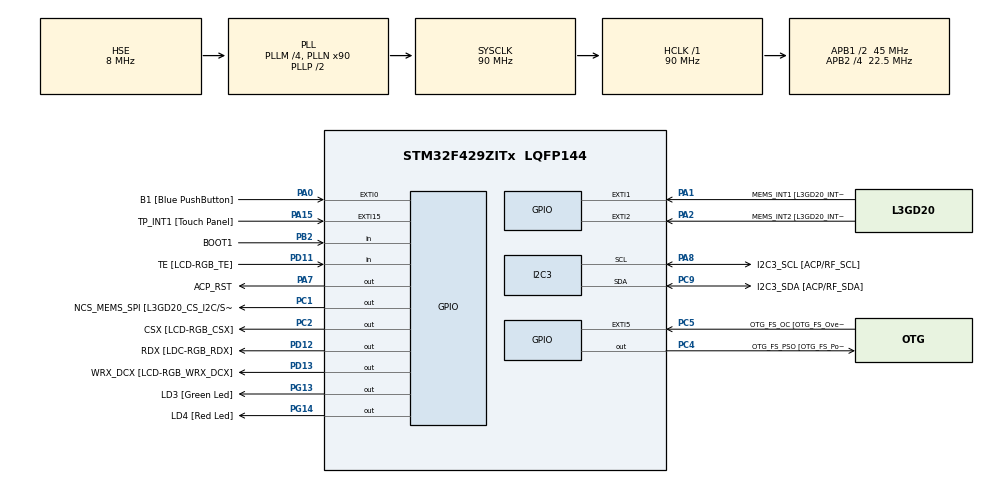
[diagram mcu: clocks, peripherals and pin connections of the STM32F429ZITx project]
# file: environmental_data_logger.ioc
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Mcu.Family=STM32F4
Mcu.Name=STM32F429ZITx
Mcu.Package=LQFP144
NVIC.PriorityGroup=NVIC_PRIORITYGROUP_0
PA0/WKUP.GPIO_Label=B1 [Blue PushButton]
PA0/WKUP.GPIO_ModeDefaultEXTI=GPIO_MODE_EVT_RISING
PA0/WKUP.GPIO_PuPd=GPIO_NOPULL
PA0/WKUP.Signal=GPXTI0
PA1.GPIO_Label=MEMS_INT1 [L3GD20_INT1]
PA1.GPIO_ModeDefaultEXTI=GPIO_MODE_EVT_RISING
PA1.GPIO_PuPd=GPIO_NOPULL
PA1.Signal=GPXTI1
PA10.GPIO_Label=STLINK_TX [STM32F103CBT6_PA2]
PA10.Signal=USART1_RX
PA11.GPIO_Label=R4
PA11.GPIO_Mode=GPIO_MODE_AF_PP
PA11.GPIO_PuPd=GPIO_NOPULL
PA11.GPIO_Speed=GPIO_SPEED_FREQ_LOW
PA11.Signal=LTDC_R4
PA12.GPIO_Label=R5
PA12.GPIO_Mode=GPIO_MODE_AF_PP
PA12.GPIO_PuPd=GPIO_NOPULL
PA12.GPIO_Speed=GPIO_SPEED_FREQ_LOW
PA12.Signal=LTDC_R5
PA13.GPIO_Label=SWDIO
PA13.Mode=Serial_Wire
PA13.Signal=SYS_JTMS-SWDIO
PA14.GPIO_Label=SWCLK
PA14.Mode=Serial_Wire
PA14.Signal=SYS_JTCK-SWCLK
PA15.GPIO_Label=TP_INT1 [Touch Panel]
PA15.GPIO_ModeDefaultEXTI=GPIO_MODE_EVT_RISING
PA15.GPIO_PuPd=GPIO_NOPULL
PA15.Signal=GPXTI15
PA2.GPIO_Label=MEMS_INT2 [L3GD20_INT2]
PA2.GPIO_ModeDefaultEXTI=GPIO_MODE_EVT_RISING
PA2.GPIO_PuPd=GPIO_NOPULL
PA2.Signal=GPXTI2
PA3.GPIO_Label=B5
PA3.GPIO_Mode=GPIO_MODE_AF_PP
PA3.GPIO_PuPd=GPIO_NOPULL
PA3.GPIO_Speed=GPIO_SPEED_FREQ_LOW
PA3.Signal=LTDC_B5
PA4.GPIO_Label=VSYNC
PA4.GPIO_Mode=GPIO_MODE_AF_PP
PA4.GPIO_PuPd=GPIO_NOPULL
PA4.GPIO_Speed=GPIO_SPEED_FREQ_LOW
PA4.Signal=LTDC_VSYNC
PA6.GPIO_Label=G2
PA6.GPIO_Mode=GPIO_MODE_AF_PP
PA6.GPIO_PuPd=GPIO_NOPULL
PA6.GPIO_Speed=GPIO_SPEED_FREQ_LOW
PA6.Signal=LTDC_G2
PA7.GPIO_Label=ACP_RST
PA7.GPIO_Mode=GPIO_MODE_OUTPUT_PP
PA7.GPIO_PuPd=GPIO_NOPULL
PA7.GPIO_Speed=GPIO_SPEED_FREQ_LOW
PA7.Signal=GPIO_Output
PA8.GPIO_Label=I2C3_SCL [ACP/RF_SCL]
PA8.GPIO_Mode=GPIO_MODE_AF_OD
PA8.GPIO_PuPd=GPIO_NOPULL
PA8.GPIO_Speed=GPIO_SPEED_FREQ_LOW
PA8.Mode=I2C
PA8.Signal=I2C3_SCL
PA9.GPIO_Label=STLINK_RX [STM32F103CBT6_PA3]
PA9.Signal=USART1_TX
PB0.GPIO_Label=R3
PB0.GPIO_Mode=GPIO_MODE_AF_PP
PB0.GPIO_PuPd=GPIO_NOPULL
PB0.GPIO_Speed=GPIO_SPEED_FREQ_LOW
PB0.Signal=LTDC_R3
PB1.GPIO_Label=R6
PB1.GPIO_Mode=GPIO_MODE_AF_PP
PB1.GPIO_PuPd=GPIO_NOPULL
PB1.GPIO_Speed=GPIO_SPEED_FREQ_LOW
PB1.Signal=LTDC_R6
PB10.GPIO_Label=G4
PB10.GPIO_Mode=GPIO_MODE_AF_PP
PB10.GPIO_PuPd=GPIO_NOPULL
PB10.GPIO_Speed=GPIO_SPEED_FREQ_LOW
PB10.Signal=LTDC_G4
PB11.GPIO_Label=G5
PB11.GPIO_Mode=GPIO_MODE_AF_PP
PB11.GPIO_PuPd=GPIO_NOPULL
PB11.GPIO_Speed=GPIO_SPEED_FREQ_LOW
PB11.Signal=LTDC_G5
PB12.GPIO_Label=OTG_HS_ID
PB12.GPIO_Mode=GPIO_MODE_AF_PP
PB12.GPIO_PuPd=GPIO_NOPULL
PB12.GPIO_Speed=GPIO_SPEED_FREQ_LOW
PB12.Signal=USB_OTG_HS_ID
PB13.GPIO_Label=VBUS_HS
PB13.GPIO_Mode=GPIO_MODE_INPUT
PB13.GPIO_PuPd=GPIO_NOPULL
PB13.Signal=USB_OTG_HS_VBUS
PB14.GPIO_Label=OTG_HS_DM
PB14.GPIO_Mode=GPIO_MODE_AF_PP
PB14.GPIO_PuPd=GPIO_NOPULL
PB14.GPIO_Speed=GPIO_SPEED_FREQ_LOW
PB14.Signal=USB_OTG_HS_DM
PB15.GPIO_Label=OTG_HS_DP
PB15.GPIO_Mode=GPIO_MODE_AF_PP
PB15.GPIO_PuPd=GPIO_NOPULL
PB15.GPIO_Speed=GPIO_SPEED_FREQ_LOW
PB15.Signal=USB_OTG_HS_DP
PB2/BOOT1.GPIO_Label=BOOT1
PB2/BOOT1.GPIO_Mode=GPIO_MODE_INPUT
PB2/BOOT1.GPIO_PuPd=GPIO_NOPULL
PB2/BOOT1.Signal=GPIO_Input
PB5.GPIO_Label=SDCKE1
PB5.GPIO_Mode=GPIO_MODE_AF_PP
PB5.GPIO_PuPd=GPIO_NOPULL
PB5.GPIO_Speed=GPIO_SPEED_FREQ_VERY_HIGH
PB5.Signal=FMC_SDCKE1
PB6.GPIO_Label=SDNE1 [SDRAM_CS]
PB6.GPIO_Mode=GPIO_MODE_AF_PP
PB6.GPIO_PuPd=GPIO_NOPULL
PB6.GPIO_Speed=GPIO_SPEED_FREQ_VERY_HIGH
PB6.Signal=FMC_SDNE1
PB8.GPIO_Label=B6
PB8.GPIO_Mode=GPIO_MODE_AF_PP
PB8.GPIO_PuPd=GPIO_NOPULL
PB8.GPIO_Speed=GPIO_SPEED_FREQ_LOW
PB8.Signal=LTDC_B6
PB9.GPIO_Label=B7
PB9.GPIO_Mode=GPIO_MODE_AF_PP
PB9.GPIO_PuPd=GPIO_NOPULL
PB9.GPIO_Speed=GPIO_SPEED_FREQ_LOW
PB9.Signal=LTDC_B7
PC0.GPIO_Label=SDNWE
PC0.GPIO_Mode=GPIO_MODE_AF_PP
PC0.GPIO_PuPd=GPIO_NOPULL
PC0.GPIO_Speed=GPIO_SPEED_FREQ_VERY_HIGH
PC0.Signal=FMC_SDNWE
PC1.GPIO_Label=NCS_MEMS_SPI [L3GD20_CS_I2C/SPI]
PC1.GPIO_Mode=GPIO_MODE_OUTPUT_PP
PC1.GPIO_PuPd=GPIO_NOPULL
PC1.GPIO_Speed=GPIO_SPEED_FREQ_LOW
PC1.Signal=GPIO_Output
PC10.GPIO_Label=R2
PC10.GPIO_Mode=GPIO_MODE_AF_PP
PC10.GPIO_PuPd=GPIO_NOPULL
PC10.GPIO_Speed=GPIO_SPEED_FREQ_LOW
PC10.Signal=LTDC_R2
PC14/OSC32_IN.GPIO_Label=PC14-OSC32_IN
PC14/OSC32_IN.Signal=RCC_OSC32_IN
PC15/OSC32_OUT.GPIO_Label=PC15-OSC32_OUT
PC15/OSC32_OUT.Signal=RCC_OSC32_OUT
PC2.GPIO_Label=CSX [LCD-RGB_CSX]
PC2.GPIO_Mode=GPIO_MODE_OUTPUT_PP
PC2.GPIO_PuPd=GPIO_NOPULL
PC2.GPIO_Speed=GPIO_SPEED_FREQ_LOW
PC2.Signal=GPIO_Output
PC4.GPIO_Label=OTG_FS_PSO [OTG_FS_PowerSwitchOn]
PC4.GPIO_Mode=GPIO_MODE_OUTPUT_PP
PC4.GPIO_PuPd=GPIO_NOPULL
PC4.GPIO_Speed=GPIO_SPEED_FREQ_LOW
PC4.Signal=GPIO_Output
PC5.GPIO_Label=OTG_FS_OC [OTG_FS_OverCurrent]
PC5.GPIO_ModeDefaultEXTI=GPIO_MODE_EVT_RISING
PC5.Signal=GPXTI5
PC6.GPIO_Label=HSYNC
PC6.GPIO_Mode=GPIO_MODE_AF_PP
PC6.GPIO_PuPd=GPIO_NOPULL
PC6.GPIO_Speed=GPIO_SPEED_FREQ_LOW
PC6.Signal=LTDC_HSYNC
PC7.GPIO_Label=G6
PC7.GPIO_Mode=GPIO_MODE_AF_PP
PC7.GPIO_PuPd=GPIO_NOPULL
PC7.GPIO_Speed=GPIO_SPEED_FREQ_LOW
PC7.Signal=LTDC_G6
PC9.GPIO_Label=I2C3_SDA [ACP/RF_SDA]
PC9.GPIO_Mode=GPIO_MODE_AF_OD
PC9.GPIO_PuPd=GPIO_NOPULL
PC9.GPIO_Speed=GPIO_SPEED_FREQ_LOW
PC9.Mode=I2C
PC9.Signal=I2C3_SDA
PD0.GPIO_Label=D2
PD0.GPIO_Mode=GPIO_MODE_AF_PP
PD0.GPIO_PuPd=GPIO_NOPULL
PD0.GPIO_Speed=GPIO_SPEED_FREQ_VERY_HIGH
PD0.Signal=FMC_D2_DA2
PD1.GPIO_Label=D3
PD1.GPIO_Mode=GPIO_MODE_AF_PP
PD1.GPIO_PuPd=GPIO_NOPULL
PD1.GPIO_Speed=GPIO_SPEED_FREQ_VERY_HIGH
PD1.Signal=FMC_D3_DA3
PD10.GPIO_Label=D15
PD10.GPIO_Mode=GPIO_MODE_AF_PP
PD10.GPIO_PuPd=GPIO_NOPULL
PD10.GPIO_Speed=GPIO_SPEED_FREQ_VERY_HIGH
PD10.Signal=FMC_D15_DA15
PD11.GPIO_Label=TE [LCD-RGB_TE]
PD11.GPIO_Mode=GPIO_MODE_INPUT
PD11.GPIO_PuPd=GPIO_NOPULL
PD11.Signal=GPIO_Input
PD12.GPIO_Label=RDX [LDC-RGB_RDX]
PD12.GPIO_Mode=GPIO_MODE_OUTPUT_PP
PD12.GPIO_PuPd=GPIO_NOPULL
PD12.GPIO_Speed=GPIO_SPEED_FREQ_LOW
PD12.Signal=GPIO_Output
PD13.GPIO_Label=WRX_DCX [LCD-RGB_WRX_DCX]
PD13.GPIO_Mode=GPIO_MODE_OUTPUT_PP
PD13.GPIO_PuPd=GPIO_NOPULL
PD13.GPIO_Speed=GPIO_SPEED_FREQ_LOW
PD13.Signal=GPIO_Output
PD14.GPIO_Label=D0
PD14.GPIO_Mode=GPIO_MODE_AF_PP
PD14.GPIO_PuPd=GPIO_NOPULL
PD14.GPIO_Speed=GPIO_SPEED_FREQ_VERY_HIGH
PD14.Signal=FMC_D0_DA0
PD15.GPIO_Label=D1
PD15.GPIO_Mode=GPIO_MODE_AF_PP
PD15.GPIO_PuPd=GPIO_NOPULL
PD15.GPIO_Speed=GPIO_SPEED_FREQ_VERY_HIGH
PD15.Signal=FMC_D1_DA1
PD3.GPIO_Label=G7
PD3.GPIO_Mode=GPIO_MODE_AF_PP
PD3.GPIO_PuPd=GPIO_NOPULL
PD3.GPIO_Speed=GPIO_SPEED_FREQ_LOW
PD3.Signal=LTDC_G7
PD6.GPIO_Label=B2
PD6.GPIO_Mode=GPIO_MODE_AF_PP
PD6.GPIO_PuPd=GPIO_NOPULL
PD6.GPIO_Speed=GPIO_SPEED_FREQ_LOW
PD6.Signal=LTDC_B2
PD8.GPIO_Label=D13
PD8.GPIO_Mode=GPIO_MODE_AF_PP
PD8.GPIO_PuPd=GPIO_NOPULL
PD8.GPIO_Speed=GPIO_SPEED_FREQ_VERY_HIGH
PD8.Signal=FMC_D13_DA13
PD9.GPIO_Label=D14
PD9.GPIO_Mode=GPIO_MODE_AF_PP
PD9.GPIO_PuPd=GPIO_NOPULL
PD9.GPIO_Speed=GPIO_SPEED_FREQ_VERY_HIGH
PD9.Signal=FMC_D14_DA14
PE0.GPIO_Label=NBL0 [SDRAM_LDQM]
PE0.GPIO_Mode=GPIO_MODE_AF_PP
PE0.GPIO_PuPd=GPIO_NOPULL
PE0.GPIO_Speed=GPIO_SPEED_FREQ_VERY_HIGH
PE0.Signal=FMC_NBL0
PE1.GPIO_Label=NBL1 [SDRAM_UDQM]
PE1.GPIO_Mode=GPIO_MODE_AF_PP
PE1.GPIO_PuPd=GPIO_NOPULL
PE1.GPIO_Speed=GPIO_SPEED_FREQ_VERY_HIGH
PE1.Signal=FMC_NBL1
PE10.GPIO_Label=D7
PE10.GPIO_Mode=GPIO_MODE_AF_PP
PE10.GPIO_PuPd=GPIO_NOPULL
PE10.GPIO_Speed=GPIO_SPEED_FREQ_VERY_HIGH
PE10.Signal=FMC_D7_DA7
PE11.GPIO_Label=D8
PE11.GPIO_Mode=GPIO_MODE_AF_PP
PE11.GPIO_PuPd=GPIO_NOPULL
PE11.GPIO_Speed=GPIO_SPEED_FREQ_VERY_HIGH
PE11.Signal=FMC_D8_DA8
PE12.GPIO_Label=D9
PE12.GPIO_Mode=GPIO_MODE_AF_PP
PE12.GPIO_PuPd=GPIO_NOPULL
PE12.GPIO_Speed=GPIO_SPEED_FREQ_VERY_HIGH
PE12.Signal=FMC_D9_DA9
PE13.GPIO_Label=D10
PE13.GPIO_Mode=GPIO_MODE_AF_PP
PE13.GPIO_PuPd=GPIO_NOPULL
PE13.GPIO_Speed=GPIO_SPEED_FREQ_VERY_HIGH
PE13.Signal=FMC_D10_DA10
PE14.GPIO_Label=D11
PE14.GPIO_Mode=GPIO_MODE_AF_PP
PE14.GPIO_PuPd=GPIO_NOPULL
PE14.GPIO_Speed=GPIO_SPEED_FREQ_VERY_HIGH
PE14.Signal=FMC_D11_DA11
PE15.GPIO_Label=D12
PE15.GPIO_Mode=GPIO_MODE_AF_PP
PE15.GPIO_PuPd=GPIO_NOPULL
PE15.GPIO_Speed=GPIO_SPEED_FREQ_VERY_HIGH
PE15.Signal=FMC_D12_DA12
PE7.GPIO_Label=D4
PE7.GPIO_Mode=GPIO_MODE_AF_PP
PE7.GPIO_PuPd=GPIO_NOPULL
PE7.GPIO_Speed=GPIO_SPEED_FREQ_VERY_HIGH
PE7.Signal=FMC_D4_DA4
PE8.GPIO_Label=D5
PE8.GPIO_Mode=GPIO_MODE_AF_PP
PE8.GPIO_PuPd=GPIO_NOPULL
PE8.GPIO_Speed=GPIO_SPEED_FREQ_VERY_HIGH
PE8.Signal=FMC_D5_DA5
PE9.GPIO_Label=D6
PE9.GPIO_Mode=GPIO_MODE_AF_PP
PE9.GPIO_PuPd=GPIO_NOPULL
PE9.GPIO_Speed=GPIO_SPEED_FREQ_VERY_HIGH
PE9.Signal=FMC_D6_DA6
PF0.GPIO_Label=A0
PF0.GPIO_Mode=GPIO_MODE_AF_PP
PF0.GPIO_PuPd=GPIO_NOPULL
PF0.GPIO_Speed=GPIO_SPEED_FREQ_VERY_HIGH
PF0.Signal=FMC_A0
PF1.GPIO_Label=A1
PF1.GPIO_Mode=GPIO_MODE_AF_PP
PF1.GPIO_PuPd=GPIO_NOPULL
PF1.GPIO_Speed=GPIO_SPEED_FREQ_VERY_HIGH
PF1.Signal=FMC_A1
PF10.GPIO_Label=ENABLE [LCD-RGB_ENABLE]
PF10.GPIO_Mode=GPIO_MODE_AF_PP
PF10.GPIO_PuPd=GPIO_NOPULL
PF10.GPIO_Speed=GPIO_SPEED_FREQ_LOW
PF10.Signal=LTDC_DE
PF11.GPIO_Label=SDNRAS
PF11.GPIO_Mode=GPIO_MODE_AF_PP
PF11.GPIO_PuPd=GPIO_NOPULL
PF11.GPIO_Speed=GPIO_SPEED_FREQ_VERY_HIGH
PF11.Signal=FMC_SDNRAS
PF12.GPIO_Label=A6
PF12.GPIO_Mode=GPIO_MODE_AF_PP
PF12.GPIO_PuPd=GPIO_NOPULL
PF12.GPIO_Speed=GPIO_SPEED_FREQ_VERY_HIGH
PF12.Signal=FMC_A6
PF13.GPIO_Label=A7
PF13.GPIO_Mode=GPIO_MODE_AF_PP
PF13.GPIO_PuPd=GPIO_NOPULL
PF13.GPIO_Speed=GPIO_SPEED_FREQ_VERY_HIGH
PF13.Signal=FMC_A7
PF14.GPIO_Label=A8
PF14.GPIO_Mode=GPIO_MODE_AF_PP
PF14.GPIO_PuPd=GPIO_NOPULL
PF14.GPIO_Speed=GPIO_SPEED_FREQ_VERY_HIGH
PF14.Signal=FMC_A8
PF15.GPIO_Label=A9
PF15.GPIO_Mode=GPIO_MODE_AF_PP
PF15.GPIO_PuPd=GPIO_NOPULL
PF15.GPIO_Speed=GPIO_SPEED_FREQ_VERY_HIGH
PF15.Signal=FMC_A9
PF2.GPIO_Label=A2
PF2.GPIO_Mode=GPIO_MODE_AF_PP
PF2.GPIO_PuPd=GPIO_NOPULL
PF2.GPIO_Speed=GPIO_SPEED_FREQ_VERY_HIGH
PF2.Signal=FMC_A2
PF3.GPIO_Label=A3
PF3.GPIO_Mode=GPIO_MODE_AF_PP
PF3.GPIO_PuPd=GPIO_NOPULL
PF3.GPIO_Speed=GPIO_SPEED_FREQ_VERY_HIGH
PF3.Signal=FMC_A3
PF4.GPIO_Label=A4
PF4.GPIO_Mode=GPIO_MODE_AF_PP
PF4.GPIO_PuPd=GPIO_NOPULL
PF4.GPIO_Speed=GPIO_SPEED_FREQ_VERY_HIGH
PF4.Signal=FMC_A4
PF5.GPIO_Label=A5
PF5.GPIO_Mode=GPIO_MODE_AF_PP
PF5.GPIO_PuPd=GPIO_NOPULL
PF5.GPIO_Speed=GPIO_SPEED_FREQ_VERY_HIGH
PF5.Signal=FMC_A5
PF7.GPIO_Label=SPI5_SCK [L3GD20_SCL/SPC]
PF7.GPIO_Mode=GPIO_MODE_AF_PP
PF7.GPIO_PuPd=GPIO_NOPULL
PF7.GPIO_Speed=GPIO_SPEED_FREQ_LOW
PF7.Signal=SPI5_SCK
PF8.GPIO_Label=SPI5_MISO [L3GD20_SDO]
PF8.GPIO_Mode=GPIO_MODE_AF_PP
PF8.GPIO_PuPd=GPIO_NOPULL
PF8.GPIO_Speed=GPIO_SPEED_FREQ_LOW
PF8.Signal=SPI5_MISO
PF9.GPIO_Label=SPI5_MOSI [L3GD20_SDA/SDI/SDO]
PF9.GPIO_Mode=GPIO_MODE_AF_PP
PF9.GPIO_PuPd=GPIO_NOPULL
PF9.GPIO_Speed=GPIO_SPEED_FREQ_LOW
PF9.Signal=SPI5_MOSI
PG0.GPIO_Label=A10
PG0.GPIO_Mode=GPIO_MODE_AF_PP
PG0.GPIO_PuPd=GPIO_NOPULL
PG0.GPIO_Speed=GPIO_SPEED_FREQ_VERY_HIGH
PG0.Signal=FMC_A10
PG1.GPIO_Label=A11
PG1.GPIO_Mode=GPIO_MODE_AF_PP
PG1.GPIO_PuPd=GPIO_NOPULL
PG1.GPIO_Speed=GPIO_SPEED_FREQ_VERY_HIGH
PG1.Signal=FMC_A11
PG10.GPIO_Label=G3
PG10.GPIO_Mode=GPIO_MODE_AF_PP
PG10.GPIO_PuPd=GPIO_NOPULL
PG10.GPIO_Speed=GPIO_SPEED_FREQ_LOW
PG10.Signal=LTDC_G3
PG11.GPIO_Label=B3
PG11.GPIO_Mode=GPIO_MODE_AF_PP
PG11.GPIO_PuPd=GPIO_NOPULL
PG11.GPIO_Speed=GPIO_SPEED_FREQ_LOW
PG11.Signal=LTDC_B3
PG12.GPIO_Label=B4
PG12.GPIO_Mode=GPIO_MODE_AF_PP
PG12.GPIO_PuPd=GPIO_NOPULL
PG12.GPIO_Speed=GPIO_SPEED_FREQ_LOW
PG12.Signal=LTDC_B4
PG13.GPIO_Label=LD3 [Green Led]
PG13.GPIO_Mode=GPIO_MODE_OUTPUT_PP
PG13.GPIO_PuPd=GPIO_NOPULL
PG13.GPIO_Speed=GPIO_SPEED_FREQ_LOW
PG13.Signal=GPIO_Output
PG14.GPIO_Label=LD4 [Red Led]
PG14.GPIO_Mode=GPIO_MODE_OUTPUT_PP
PG14.GPIO_PuPd=GPIO_NOPULL
PG14.GPIO_Speed=GPIO_SPEED_FREQ_LOW
PG14.Signal=GPIO_Output
PG15.GPIO_Label=SDNCAS
PG15.GPIO_Mode=GPIO_MODE_AF_PP
PG15.GPIO_PuPd=GPIO_NOPULL
PG15.GPIO_Speed=GPIO_SPEED_FREQ_VERY_HIGH
PG15.Signal=FMC_SDNCAS
PG4.GPIO_Label=BA0
PG4.GPIO_Mode=GPIO_MODE_AF_PP
PG4.GPIO_PuPd=GPIO_NOPULL
PG4.GPIO_Speed=GPIO_SPEED_FREQ_VERY_HIGH
PG4.Signal=FMC_A14_BA0
PG5.GPIO_Label=BA1
PG5.GPIO_Mode=GPIO_MODE_AF_PP
PG5.GPIO_PuPd=GPIO_NOPULL
PG5.GPIO_Speed=GPIO_SPEED_FREQ_VERY_HIGH
PG5.Signal=FMC_A15_BA1
PG6.GPIO_Label=R7
PG6.GPIO_Mode=GPIO_MODE_AF_PP
PG6.GPIO_PuPd=GPIO_NOPULL
PG6.GPIO_Speed=GPIO_SPEED_FREQ_LOW
PG6.Signal=LTDC_R7
PG7.GPIO_Label=DOTCLK [LCT-RGB_DOTCLK]
PG7.GPIO_Mode=GPIO_MODE_AF_PP
PG7.GPIO_PuPd=GPIO_NOPULL
PG7.GPIO_Speed=GPIO_SPEED_FREQ_LOW
PG7.Signal=LTDC_CLK
PG8.GPIO_Label=SDCLK
PG8.GPIO_Mode=GPIO_MODE_AF_PP
PG8.GPIO_PuPd=GPIO_NOPULL
PG8.GPIO_Speed=GPIO_SPEED_FREQ_VERY_HIGH
PG8.Signal=FMC_SDCLK
PH0/OSC_IN.GPIO_Label=PH0-OSC_IN
PH0/OSC_IN.Mode=HSE-External-Oscillator
PH0/OSC_IN.Signal=RCC_OSC_IN
PH1/OSC_OUT.GPIO_Label=PH1-OSC_OUT
PH1/OSC_OUT.Mode=HSE-External-Oscillator
PH1/OSC_OUT.Signal=RCC_OSC_OUT
ProjectManager.HeapSize=0x200
ProjectManager.StackSize=0x400
ProjectManager.TargetToolchain=STM32CubeIDE
RCC.48MHZClocksFreq_Value=25714285.714285713
RCC.AHBFreq_Value=90000000
RCC.APB1CLKDivider=RCC_HCLK_DIV2
RCC.APB1Freq_Value=45000000
RCC.APB1TimFreq_Value=90000000
RCC.APB2CLKDivider=RCC_HCLK_DIV4
RCC.APB2Freq_Value=22500000
RCC.APB2TimFreq_Value=45000000
RCC.CortexFreq_Value=90000000
RCC.HCLKFreq_Value=90000000
RCC.HSE_VALUE=8000000
RCC.HSI_VALUE=16000000
RCC.LSE_VALUE=32768
RCC.PLLM=4
RCC.PLLN=90
RCC.PLLQ=7
RCC.PLLSourceVirtual=RCC_PLLSOURCE_HSE
RCC.SYSCLKFreq_VALUE=90000000
RCC.SYSCLKSource=RCC_SYSCLKSOURCE_PLLCLK
RCC.VCOOutputFreq_Value=180000000
SH.FMC_A0.0=FMC_A0
SH.FMC_A1.0=FMC_A1
SH.FMC_A10.0=FMC_A10
SH.FMC_A11.0=FMC_A11
SH.FMC_A14_BA0.0=FMC_BA0
SH.FMC_A15_BA1.0=FMC_BA1
SH.FMC_A2.0=FMC_A2
SH.FMC_A3.0=FMC_A3
SH.FMC_A4.0=FMC_A4
SH.FMC_A5.0=FMC_A5
SH.FMC_A6.0=FMC_A6
SH.FMC_A7.0=FMC_A7
SH.FMC_A8.0=FMC_A8
SH.FMC_A9.0=FMC_A9
SH.FMC_D0_DA0.0=FMC_D0
SH.FMC_D10_DA10.0=FMC_D10
SH.FMC_D11_DA11.0=FMC_D11
SH.FMC_D12_DA12.0=FMC_D12
SH.FMC_D13_DA13.0=FMC_D13
SH.FMC_D14_DA14.0=FMC_D14
SH.FMC_D15_DA15.0=FMC_D15
SH.FMC_D1_DA1.0=FMC_D1
SH.FMC_D2_DA2.0=FMC_D2
SH.FMC_D3_DA3.0=FMC_D3
SH.FMC_D4_DA4.0=FMC_D4
SH.FMC_D5_DA5.0=FMC_D5
SH.FMC_D6_DA6.0=FMC_D6
SH.FMC_D7_DA7.0=FMC_D7
SH.FMC_D8_DA8.0=FMC_D8
SH.FMC_D9_DA9.0=FMC_D9
SH.FMC_NBL0.0=FMC_NBL0
SH.FMC_NBL1.0=FMC_NBL1
SH.FMC_SDCLK.0=FMC_SDCLK
SH.FMC_SDNCAS.0=FMC_SDNCAS
SH.FMC_SDNRAS.0=FMC_SDNRAS
SH.FMC_SDNWE.0=FMC_SDNWE
board=STM32F429I-DISC1

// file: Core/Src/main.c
/* USER CODE BEGIN Header */
/**
  ******************************************************************************
  * @file           : main.c
  * @brief          : Main program body
  ******************************************************************************
  * @attention
  *
  * Copyright (c) 2026 STMicroelectronics.
  * All rights reserved.
  *
  * This software is licensed under terms that can be found in the LICENSE file
  * in the root directory of this software component.
  * If no LICENSE file comes with this software, it is provided AS-IS.
  *
  ******************************************************************************
  */
/* USER CODE END Header */
#include "main.h"
#include "i2c.h"
#include "gpio.h"
/* USER CODE BEGIN Includes */
#include "BME280.h"
#include "OLED.h"
#include <stdio.h>
/* USER CODE END Includes */

/* USER CODE BEGIN PV */
//uint8_t bme280_chip_id = 0;
//HAL_StatusTypeDef i2c_status;
BME280 bme280;
BME280_Status bme_status;
HAL_StatusTypeDef meas_status;
uint8_t found_addresses[8];
uint8_t found_count = 0;

OLED oled;
OLED_Status oled_status;

char temp_text[16];
char humidity_text[16];
char pressure_text[16];
/* USER CODE END PV */

void SystemClock_Config(void);

int main(void)
{

  /* MCU Configuration--------------------------------------------------------*/

  /* Reset of all peripherals, Initializes the Flash interface and the Systick. */
  HAL_Init();

  /* Configure the system clock */
  SystemClock_Config();

  /* Initialize all configured peripherals */
  MX_GPIO_Init();
  MX_I2C3_Init();
  /* USER CODE BEGIN 2 */
  bme_status = BME280_Initialise(&bme280, &hi2c3);

  found_count = 0;

  for (uint8_t address = 1; address < 128; address++)
  {
      if (HAL_I2C_IsDeviceReady(&hi2c3, address << 1, 1, 10) == HAL_OK)
      {
          found_addresses[found_count] = address;
          found_count++;

          if (found_count >= 8)
          {
              break;
          }
      }
  }

  HAL_Delay(100);
  oled_status = OLED_Initialise(&oled, &hi2c3);   /* Initialize the OLED controller on I2C3 */

  if (oled_status == OLED_OK)
  {
      oled_status = OLED_Clear(&oled);
	if(oled_status == OLED_OK)
	{
		oled_status = OLED_DrawString(&oled, "TEMP:", 0, 0);

		if (oled_status == OLED_OK)
		{
			oled_status = OLED_DrawString(&oled, "RH:", 0, 2);
		}

		if (oled_status == OLED_OK)
		{
			oled_status = OLED_DrawString(&oled, "PRESS:", 0, 4);
		}

		if (oled_status == OLED_OK)
		{
			oled_status = OLED_DrawString(&oled, "SD:", 0, 6);
		}
	}
   }
  /* USER CODE END 2 */

  /* Infinite loop */
  /* USER CODE BEGIN WHILE */
  while (1)
  {
	  meas_status = BME280_ReadMeasurements(&bme280);

	     if (meas_status == HAL_OK)
	     {
	         snprintf(temp_text,
	                  sizeof(temp_text),
	                  "%5.1f C",
	                  bme280.temp_C);

	         snprintf(humidity_text,
	                  sizeof(humidity_text),
	                  "%5.1f %%",
	                  bme280.humidity_RH);

	         snprintf(pressure_text,
	                  sizeof(pressure_text),
	                  "%6.1f hPa",
	                  bme280.pressure_Pa / 100.0f);

	         OLED_DrawString(&oled, temp_text, 36, 0);
	         OLED_DrawString(&oled, humidity_text, 24, 2);
	         OLED_DrawString(&oled, pressure_text, 42, 4);
	     }
	     else
	     {
	         OLED_DrawString(&oled, "ERR    ",    36, 0);
	         OLED_DrawString(&oled, "ERR    ",    24, 2);
	         OLED_DrawString(&oled, "ERR       ", 42, 4);
	     }

	     HAL_Delay(1000);
    /* USER CODE END WHILE */

  }
}

void SystemClock_Config(void)
{
  RCC_OscInitTypeDef RCC_OscInitStruct = {0};
  RCC_ClkInitTypeDef RCC_ClkInitStruct = {0};

  /** Configure the main internal regulator output voltage
  */
  __HAL_RCC_PWR_CLK_ENABLE();
  __HAL_PWR_VOLTAGESCALING_CONFIG(PWR_REGULATOR_VOLTAGE_SCALE3);

  /** Initializes the RCC Oscillators according to the specified parameters
  * in the RCC_OscInitTypeDef structure.
  */
  RCC_OscInitStruct.OscillatorType = RCC_OSCILLATORTYPE_HSE;
  RCC_OscInitStruct.HSEState = RCC_HSE_ON;
  RCC_OscInitStruct.PLL.PLLState = RCC_PLL_ON;
  RCC_OscInitStruct.PLL.PLLSource = RCC_PLLSOURCE_HSE;
  RCC_OscInitStruct.PLL.PLLM = 4;
  RCC_OscInitStruct.PLL.PLLN = 90;
  RCC_OscInitStruct.PLL.PLLP = RCC_PLLP_DIV2;
  RCC_OscInitStruct.PLL.PLLQ = 7;
  if (HAL_RCC_OscConfig(&RCC_OscInitStruct) != HAL_OK)
  {
    Error_Handler();
  }

  /** Activate the Over-Drive mode
  */
  if (HAL_PWREx_EnableOverDrive() != HAL_OK)
  {
    Error_Handler();
  }

  /** Initializes the CPU, AHB and APB buses clocks
  */
  RCC_ClkInitStruct.ClockType = RCC_CLOCKTYPE_HCLK|RCC_CLOCKTYPE_SYSCLK
                              |RCC_CLOCKTYPE_PCLK1|RCC_CLOCKTYPE_PCLK2;
  RCC_ClkInitStruct.SYSCLKSource = RCC_SYSCLKSOURCE_PLLCLK;
  RCC_ClkInitStruct.AHBCLKDivider = RCC_SYSCLK_DIV1;
  RCC_ClkInitStruct.APB1CLKDivider = RCC_HCLK_DIV2;
  RCC_ClkInitStruct.APB2CLKDivider = RCC_HCLK_DIV4;

  if (HAL_RCC_ClockConfig(&RCC_ClkInitStruct, FLASH_LATENCY_2) != HAL_OK)
  {
    Error_Handler();
  }
}

void Error_Handler(void)
{
  __disable_irq();
  while (1)
  {
  }
}
